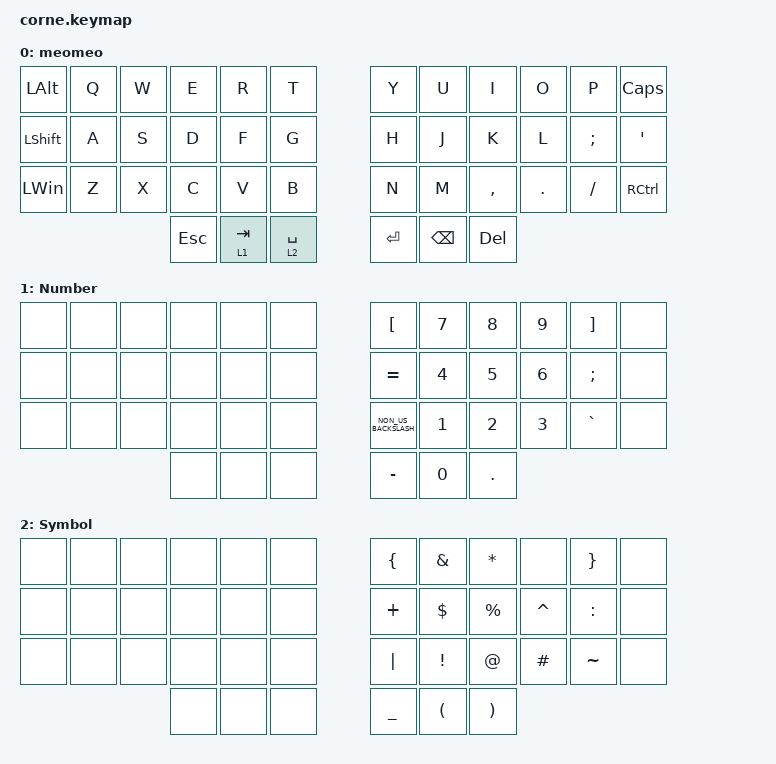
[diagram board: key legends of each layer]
/*
 * Copyright (c) 2020 The ZMK Contributors
 *
 * SPDX-License-Identifier: MIT
 */

#include <behaviors.dtsi>
#include <dt-bindings/zmk/keys.h>

/ {
    keymap {
        compatible = "zmk,keymap";

        default_layer {
            // -----------------------------------------------------------------------------------------
            // |  TAB |  Q  |  W  |  E  |  R  |  T  |   |  Y  |  U   |  I  |  O  |  P  | BKSP |
            // | CTRL |  A  |  S  |  D  |  F  |  G  |   |  H  |  J   |  K  |  L  |  ;  |  '   |
            // | SHFT |  Z  |  X  |  C  |  V  |  B  |   |  N  |  M   |  ,  |  .  |  /  | ESC  |
            //                    | GUI | LWR | SPC |   | ENT | RSE  | ALT |

            bindings = <
&kp LEFT_ALT    &kp Q  &kp W  &kp E       &kp R      &kp T          &kp Y    &kp U          &kp I      &kp O    &kp P     &kp CAPSLOCK
&kp LEFT_SHIFT  &kp A  &kp S  &kp D       &kp F      &kp G          &kp H    &kp J          &kp K      &kp L    &kp SEMI  &kp SQT
&kp LEFT_WIN    &kp Z  &kp X  &kp C       &kp V      &kp B          &kp N    &kp M          &kp COMMA  &kp DOT  &kp FSLH  &kp RCTRL
                              &kp ESCAPE  &lt 1 TAB  &lt 2 SPACE    &kp RET  &kp BACKSPACE  &kp DEL
            >;

            label = "meomeo";
        };

        number {
            // -----------------------------------------------------------------------------------------
            // |  TAB |  1  |  2  |  3  |  4  |  5  |   |  6  |  7  |  8  |  9  |  0  | BKSP |
            // | BTCLR| BT1 | BT2 | BT3 | BT4 | BT5 |   | LFT | DWN |  UP | RGT |     |      |
            // | SHFT |     |     |     |     |     |   |     |     |     |     |     |      |
            //                    | GUI |     | SPC |   | ENT |     | ALT |

            bindings = <
&none  &none  &none  &none  &none  &none    &kp LEFT_BRACKET      &kp N7        &kp N8        &kp N9        &kp RIGHT_BRACKET  &none
&none  &none  &none  &none  &none  &none    &kp EQUAL             &kp NUMBER_4  &kp N5        &kp NUMBER_6  &kp SEMICOLON      &none
&none  &none  &none  &none  &none  &none    &kp NON_US_BACKSLASH  &kp NUMBER_1  &kp NUMBER_2  &kp NUMBER_3  &kp GRAVE          &none
                     &none  &none  &none    &kp MINUS             &kp NUMBER_0  &kp DOT
            >;

            label = "Number";
        };

        symbol {
            // -----------------------------------------------------------------------------------------
            // |  TAB |  !  |  @  |  #  |  $  |  %  |   |  ^  |  &  |  *  |  (  |  )  | BKSP |
            // | CTRL |     |     |     |     |     |   |  -  |  =  |  [  |  ]  |  \  |  `   |
            // | SHFT |     |     |     |     |     |   |  _  |  +  |  {  |  }  | "|" |  ~   |
            //                    | GUI |     | SPC |   | ENT |     | ALT |

            bindings = <
&none  &none  &none  &none  &none  &none    &kp LEFT_BRACE  &kp AMPERSAND         &kp ASTERISK           &none      &kp RIGHT_BRACE  &none
&none  &none  &none  &none  &none  &none    &kp PLUS        &kp DOLLAR            &kp PERCENT            &kp CARET  &kp COLON        &none
&none  &none  &none  &none  &none  &none    &kp PIPE        &kp EXCLAMATION       &kp AT_SIGN            &kp HASH   &kp TILDE        &none
                     &none  &none  &none    &kp UNDERSCORE  &kp LEFT_PARENTHESIS  &kp RIGHT_PARENTHESIS
            >;

            label = "Symbol";
        };
    };
};
